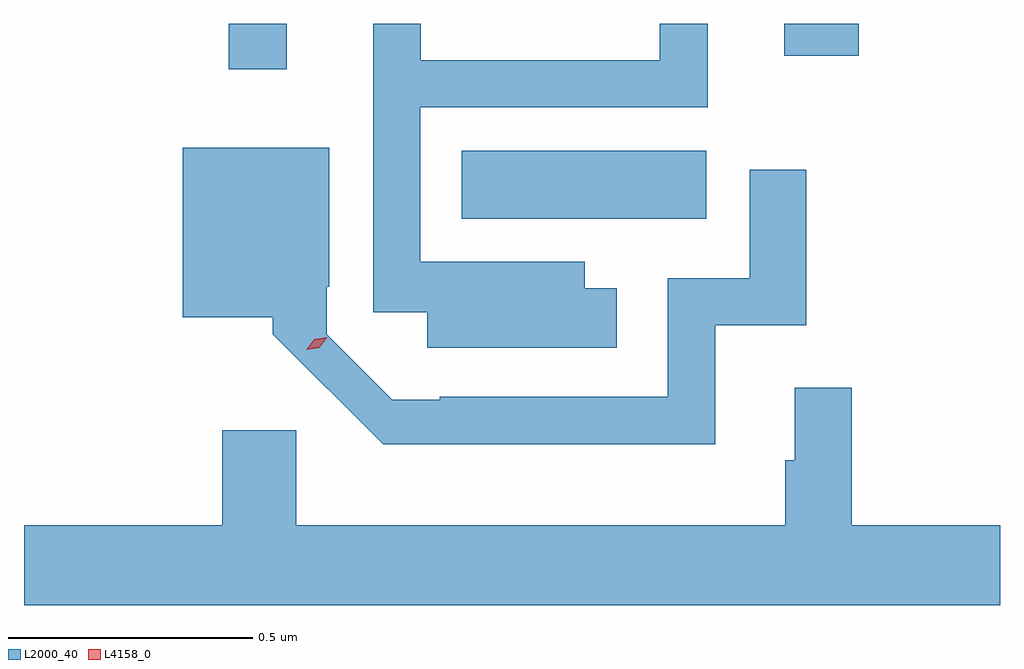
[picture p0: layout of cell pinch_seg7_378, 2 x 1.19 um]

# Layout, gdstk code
import gdstk
lib = gdstk.Library(unit=1e-6, precision=1e-09)
def R(c, l, rs):  # rectangles x0, y0, x1, y1
    for r in rs: c.add(gdstk.rectangle(r[:2], r[2:], *l))
def P(c, l, *ps):  # polygons
    for p in ps: c.add(gdstk.Polygon(p, *l))
L2000_40 = (2000, 40)
L4158_0 = (4158, 0)

pinch_seg7_378 = lib.new_cell('pinch_seg7_378')
R(pinch_seg7_378, L2000_40, [(495.364,1010.732,495.865,1010.872), (494.887,1011.039,495.005,1011.132), (496.025,1011.066,496.178,1011.132)])
P(pinch_seg7_378, L2000_40, [(495.682,1010.59),(495.616,1010.59),(495.616,1010.644),(495.279,1010.644),(495.279,1010.961),(495.868,1010.961),(495.868,1011.132),(495.77,1011.132),(495.77,1011.057),(495.28,1011.057),(495.28,1011.132),(495.183,1011.132),(495.183,1010.541),(495.293,1010.541),(495.293,1010.468),(495.682,1010.468)],
  [(495.883,1010.514),(496.07,1010.514),(496.07,1010.833),(495.954,1010.833),(495.954,1010.61),(495.786,1010.61),(495.786,1010.367),(495.319,1010.367),(495.319,1010.361),(495.222,1010.361),(495.087,1010.496),(495.087,1010.593),(495.093,1010.593),(495.093,1010.878),(494.792,1010.878),(494.792,1010.53),(494.977,1010.53),(494.977,1010.496),(495.203,1010.27),(495.883,1010.27)],
  [(496.467,1010.104),(496.163,1010.104),(496.163,1010.386),(496.046,1010.386),(496.046,1010.237),(496.027,1010.237),(496.027,1010.104),(495.025,1010.104),(495.025,1010.299),(494.873,1010.299),(494.873,1010.104),(494.467,1010.104),(494.467,1009.94),(496.467,1009.94)])
P(pinch_seg7_378, L4158_0, [(495.046,1010.464),(495.046,1010.464),(495.046,1010.465),(495.062,1010.485),(495.087,1010.489),(495.088,1010.489),(495.088,1010.489),(495.072,1010.468)])

lib.write_gds('pinch_seg7_378.gds')
